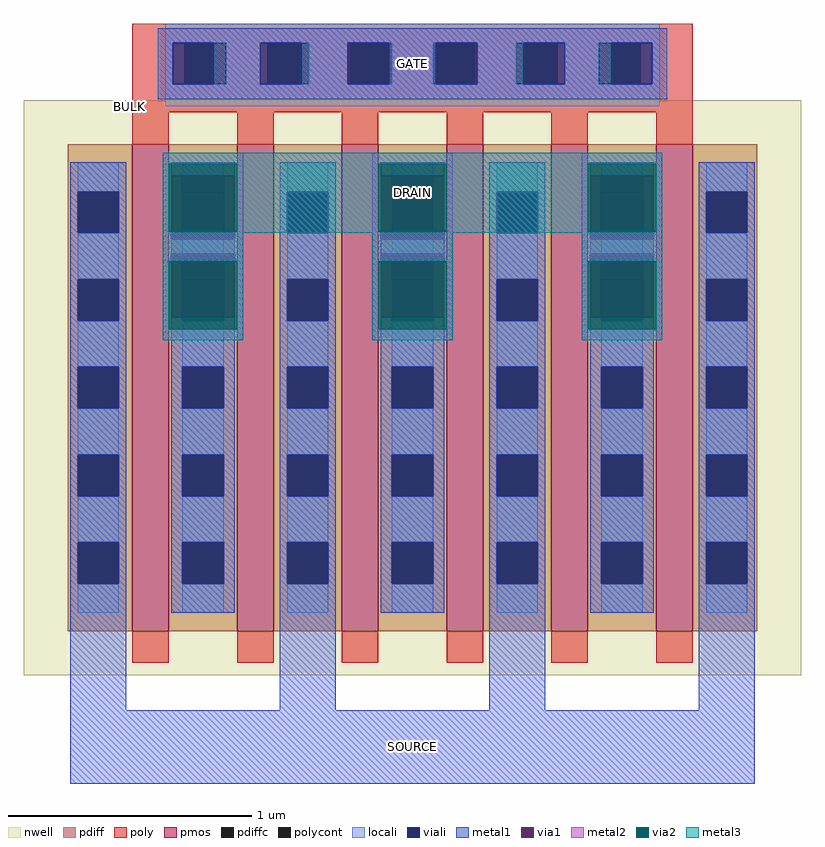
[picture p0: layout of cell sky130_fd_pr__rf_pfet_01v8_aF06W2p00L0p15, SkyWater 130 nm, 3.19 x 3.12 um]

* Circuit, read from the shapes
.subckt sky130_fd_pr__rf_pfet_01v8_aF06W2p00L0p15 DRAIN GATE SOURCE BULK
XM1 DRAIN GATE SOURCE BULK sky130_fd_pr__pfet_01v8 w=2 l=0.15 m=6
.ends

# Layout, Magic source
magic
tech sky130A
magscale 1 2
<< nwell >>
rect 0 0 638 472
<< pmos >>
rect 89 36 119 436
rect 175 36 205 436
rect 261 36 291 436
rect 347 36 377 436
rect 433 36 463 436
rect 519 36 549 436
<< pdiff >>
rect 36 397 89 436
rect 36 363 44 397
rect 78 363 89 397
rect 36 325 89 363
rect 36 291 44 325
rect 78 291 89 325
rect 36 253 89 291
rect 36 219 44 253
rect 78 219 89 253
rect 36 181 89 219
rect 36 147 44 181
rect 78 147 89 181
rect 36 109 89 147
rect 36 75 44 109
rect 78 75 89 109
rect 36 36 89 75
rect 119 397 175 436
rect 119 363 130 397
rect 164 363 175 397
rect 119 325 175 363
rect 119 291 130 325
rect 164 291 175 325
rect 119 253 175 291
rect 119 219 130 253
rect 164 219 175 253
rect 119 181 175 219
rect 119 147 130 181
rect 164 147 175 181
rect 119 109 175 147
rect 119 75 130 109
rect 164 75 175 109
rect 119 36 175 75
rect 205 397 261 436
rect 205 363 216 397
rect 250 363 261 397
rect 205 325 261 363
rect 205 291 216 325
rect 250 291 261 325
rect 205 253 261 291
rect 205 219 216 253
rect 250 219 261 253
rect 205 181 261 219
rect 205 147 216 181
rect 250 147 261 181
rect 205 109 261 147
rect 205 75 216 109
rect 250 75 261 109
rect 205 36 261 75
rect 291 397 347 436
rect 291 363 302 397
rect 336 363 347 397
rect 291 325 347 363
rect 291 291 302 325
rect 336 291 347 325
rect 291 253 347 291
rect 291 219 302 253
rect 336 219 347 253
rect 291 181 347 219
rect 291 147 302 181
rect 336 147 347 181
rect 291 109 347 147
rect 291 75 302 109
rect 336 75 347 109
rect 291 36 347 75
rect 377 397 433 436
rect 377 363 388 397
rect 422 363 433 397
rect 377 325 433 363
rect 377 291 388 325
rect 422 291 433 325
rect 377 253 433 291
rect 377 219 388 253
rect 422 219 433 253
rect 377 181 433 219
rect 377 147 388 181
rect 422 147 433 181
rect 377 109 433 147
rect 377 75 388 109
rect 422 75 433 109
rect 377 36 433 75
rect 463 397 519 436
rect 463 363 474 397
rect 508 363 519 397
rect 463 325 519 363
rect 463 291 474 325
rect 508 291 519 325
rect 463 253 519 291
rect 463 219 474 253
rect 508 219 519 253
rect 463 181 519 219
rect 463 147 474 181
rect 508 147 519 181
rect 463 109 519 147
rect 463 75 474 109
rect 508 75 519 109
rect 463 36 519 75
rect 549 397 602 436
rect 549 363 560 397
rect 594 363 602 397
rect 549 325 602 363
rect 549 291 560 325
rect 594 291 602 325
rect 549 253 602 291
rect 549 219 560 253
rect 594 219 602 253
rect 549 181 602 219
rect 549 147 560 181
rect 594 147 602 181
rect 549 109 602 147
rect 549 75 560 109
rect 594 75 602 109
rect 549 36 602 75
<< pdiffc >>
rect 44 363 78 397
rect 44 291 78 325
rect 44 219 78 253
rect 44 147 78 181
rect 44 75 78 109
rect 130 363 164 397
rect 130 291 164 325
rect 130 219 164 253
rect 130 147 164 181
rect 130 75 164 109
rect 216 363 250 397
rect 216 291 250 325
rect 216 219 250 253
rect 216 147 250 181
rect 216 75 250 109
rect 302 363 336 397
rect 302 291 336 325
rect 302 219 336 253
rect 302 147 336 181
rect 302 75 336 109
rect 388 363 422 397
rect 388 291 422 325
rect 388 219 422 253
rect 388 147 422 181
rect 388 75 422 109
rect 474 363 508 397
rect 474 291 508 325
rect 474 219 508 253
rect 474 147 508 181
rect 474 75 508 109
rect 560 363 594 397
rect 560 291 594 325
rect 560 219 594 253
rect 560 147 594 181
rect 560 75 594 109
<< poly >>
rect 89 519 549 535
rect 89 485 132 519
rect 166 485 200 519
rect 234 485 268 519
rect 302 485 336 519
rect 370 485 404 519
rect 438 485 472 519
rect 506 485 549 519
rect 89 462 549 485
rect 89 436 119 462
rect 175 436 205 462
rect 261 436 291 462
rect 347 436 377 462
rect 433 436 463 462
rect 519 436 549 462
rect 89 10 119 36
rect 175 10 205 36
rect 261 10 291 36
rect 347 10 377 36
rect 433 10 463 36
rect 519 10 549 36
<< polycont >>
rect 132 485 166 519
rect 200 485 234 519
rect 268 485 302 519
rect 336 485 370 519
rect 404 485 438 519
rect 472 485 506 519
<< locali >>
rect 116 519 522 535
rect 116 485 122 519
rect 166 485 194 519
rect 234 485 266 519
rect 302 485 336 519
rect 372 485 404 519
rect 444 485 472 519
rect 516 485 522 519
rect 116 467 522 485
rect 44 397 78 421
rect 44 325 78 363
rect 44 253 78 291
rect 44 181 78 219
rect 44 109 78 147
rect 44 51 78 75
rect 130 397 164 421
rect 130 325 164 363
rect 130 253 164 291
rect 130 181 164 219
rect 130 109 164 147
rect 130 51 164 75
rect 216 397 250 421
rect 216 325 250 363
rect 216 253 250 291
rect 216 181 250 219
rect 216 109 250 147
rect 216 51 250 75
rect 302 397 336 421
rect 302 325 336 363
rect 302 253 336 291
rect 302 181 336 219
rect 302 109 336 147
rect 302 51 336 75
rect 388 397 422 421
rect 388 325 422 363
rect 388 253 422 291
rect 388 181 422 219
rect 388 109 422 147
rect 388 51 422 75
rect 474 397 508 421
rect 474 325 508 363
rect 474 253 508 291
rect 474 181 508 219
rect 474 109 508 147
rect 474 51 508 75
rect 560 397 594 421
rect 560 325 594 363
rect 560 253 594 291
rect 560 181 594 219
rect 560 109 594 147
rect 560 51 594 75
<< viali >>
rect 122 485 132 519
rect 132 485 156 519
rect 194 485 200 519
rect 200 485 228 519
rect 266 485 268 519
rect 268 485 300 519
rect 338 485 370 519
rect 370 485 372 519
rect 410 485 438 519
rect 438 485 444 519
rect 482 485 506 519
rect 506 485 516 519
rect 44 363 78 397
rect 44 291 78 325
rect 44 219 78 253
rect 44 147 78 181
rect 44 75 78 109
rect 130 363 164 397
rect 130 291 164 325
rect 130 219 164 253
rect 130 147 164 181
rect 130 75 164 109
rect 216 363 250 397
rect 216 291 250 325
rect 216 219 250 253
rect 216 147 250 181
rect 216 75 250 109
rect 302 363 336 397
rect 302 291 336 325
rect 302 219 336 253
rect 302 147 336 181
rect 302 75 336 109
rect 388 363 422 397
rect 388 291 422 325
rect 388 219 422 253
rect 388 147 422 181
rect 388 75 422 109
rect 474 363 508 397
rect 474 291 508 325
rect 474 219 508 253
rect 474 147 508 181
rect 474 75 508 109
rect 560 363 594 397
rect 560 291 594 325
rect 560 219 594 253
rect 560 147 594 181
rect 560 75 594 109
<< metal1 >>
rect 110 519 528 531
rect 110 485 122 519
rect 156 485 194 519
rect 228 485 266 519
rect 300 485 338 519
rect 372 485 410 519
rect 444 485 482 519
rect 516 485 528 519
rect 110 473 528 485
rect 38 397 84 421
rect 38 363 44 397
rect 78 363 84 397
rect 38 325 84 363
rect 38 291 44 325
rect 78 291 84 325
rect 38 253 84 291
rect 38 219 44 253
rect 78 219 84 253
rect 38 181 84 219
rect 38 147 44 181
rect 78 147 84 181
rect 38 109 84 147
rect 38 75 44 109
rect 78 75 84 109
rect 38 -29 84 75
rect 121 410 173 421
rect 121 346 173 358
rect 121 291 130 294
rect 164 291 173 294
rect 121 253 173 291
rect 121 219 130 253
rect 164 219 173 253
rect 121 181 173 219
rect 121 147 130 181
rect 164 147 173 181
rect 121 109 173 147
rect 121 75 130 109
rect 164 75 173 109
rect 121 51 173 75
rect 210 397 256 421
rect 210 363 216 397
rect 250 363 256 397
rect 210 325 256 363
rect 210 291 216 325
rect 250 291 256 325
rect 210 253 256 291
rect 210 219 216 253
rect 250 219 256 253
rect 210 181 256 219
rect 210 147 216 181
rect 250 147 256 181
rect 210 109 256 147
rect 210 75 216 109
rect 250 75 256 109
rect 210 -29 256 75
rect 293 410 345 421
rect 293 346 345 358
rect 293 291 302 294
rect 336 291 345 294
rect 293 253 345 291
rect 293 219 302 253
rect 336 219 345 253
rect 293 181 345 219
rect 293 147 302 181
rect 336 147 345 181
rect 293 109 345 147
rect 293 75 302 109
rect 336 75 345 109
rect 293 51 345 75
rect 382 397 428 421
rect 382 363 388 397
rect 422 363 428 397
rect 382 325 428 363
rect 382 291 388 325
rect 422 291 428 325
rect 382 253 428 291
rect 382 219 388 253
rect 422 219 428 253
rect 382 181 428 219
rect 382 147 388 181
rect 422 147 428 181
rect 382 109 428 147
rect 382 75 388 109
rect 422 75 428 109
rect 382 -29 428 75
rect 465 410 517 421
rect 465 346 517 358
rect 465 291 474 294
rect 508 291 517 294
rect 465 253 517 291
rect 465 219 474 253
rect 508 219 517 253
rect 465 181 517 219
rect 465 147 474 181
rect 508 147 517 181
rect 465 109 517 147
rect 465 75 474 109
rect 508 75 517 109
rect 465 51 517 75
rect 554 397 600 421
rect 554 363 560 397
rect 594 363 600 397
rect 554 325 600 363
rect 554 291 560 325
rect 594 291 600 325
rect 554 253 600 291
rect 554 219 560 253
rect 594 219 600 253
rect 554 181 600 219
rect 554 147 560 181
rect 594 147 600 181
rect 554 109 600 147
rect 554 75 560 109
rect 594 75 600 109
rect 554 -29 600 75
rect 38 -89 600 -29
<< via1 >>
rect 121 397 173 410
rect 121 363 130 397
rect 130 363 164 397
rect 164 363 173 397
rect 121 358 173 363
rect 121 325 173 346
rect 121 294 130 325
rect 130 294 164 325
rect 164 294 173 325
rect 293 397 345 410
rect 293 363 302 397
rect 302 363 336 397
rect 336 363 345 397
rect 293 358 345 363
rect 293 325 345 346
rect 293 294 302 325
rect 302 294 336 325
rect 336 294 345 325
rect 465 397 517 410
rect 465 363 474 397
rect 474 363 508 397
rect 508 363 517 397
rect 465 358 517 363
rect 465 325 517 346
rect 465 294 474 325
rect 474 294 508 325
rect 508 294 517 325
<< metal2 >>
rect 114 420 180 429
rect 114 364 119 420
rect 175 364 180 420
rect 114 358 121 364
rect 173 358 180 364
rect 114 346 180 358
rect 114 340 121 346
rect 173 340 180 346
rect 114 284 119 340
rect 175 284 180 340
rect 114 275 180 284
rect 286 420 352 429
rect 286 364 291 420
rect 347 364 352 420
rect 286 358 293 364
rect 345 358 352 364
rect 286 346 352 358
rect 286 340 293 346
rect 345 340 352 346
rect 286 284 291 340
rect 347 284 352 340
rect 286 275 352 284
rect 458 420 524 429
rect 458 364 463 420
rect 519 364 524 420
rect 458 358 465 364
rect 517 358 524 364
rect 458 346 524 358
rect 458 340 465 346
rect 517 340 524 346
rect 458 284 463 340
rect 519 284 524 340
rect 458 275 524 284
<< via2 >>
rect 119 410 175 420
rect 119 364 121 410
rect 121 364 173 410
rect 173 364 175 410
rect 119 294 121 340
rect 121 294 173 340
rect 173 294 175 340
rect 119 284 175 294
rect 291 410 347 420
rect 291 364 293 410
rect 293 364 345 410
rect 345 364 347 410
rect 291 294 293 340
rect 293 294 345 340
rect 345 294 347 340
rect 291 284 347 294
rect 463 410 519 420
rect 463 364 465 410
rect 465 364 517 410
rect 517 364 519 410
rect 463 294 465 340
rect 465 294 517 340
rect 517 294 519 340
rect 463 284 519 294
<< metal3 >>
rect 114 420 524 429
rect 114 364 119 420
rect 175 364 291 420
rect 347 364 463 420
rect 519 364 524 420
rect 114 363 524 364
rect 114 340 180 363
rect 114 284 119 340
rect 175 284 180 340
rect 114 275 180 284
rect 286 340 352 363
rect 286 284 291 340
rect 347 284 352 340
rect 286 275 352 284
rect 458 340 524 363
rect 458 284 463 340
rect 519 284 524 340
rect 458 275 524 284
<< labels >>
flabel metal3 s 114 363 524 429 0 FreeSans 400 0 0 0 DRAIN
port 1 nsew
flabel metal1 s 110 473 528 531 0 FreeSans 400 0 0 0 GATE
port 2 nsew
flabel metal1 s 38 -89 600 -29 0 FreeSans 400 0 0 0 SOURCE
port 3 nsew
flabel nwell s 85 463 88 471 0 FreeSans 400 0 0 0 BULK
port 4 nsew
<< properties >>
string GDS_FILE $PDKPATH/libs.ref/sky130_fd_pr/gds/sky130_fd_pr.gds
string GDS_END 9290560
string GDS_START 9278600
string path 1.525 10.525 1.525 -2.225 
<< end >>
